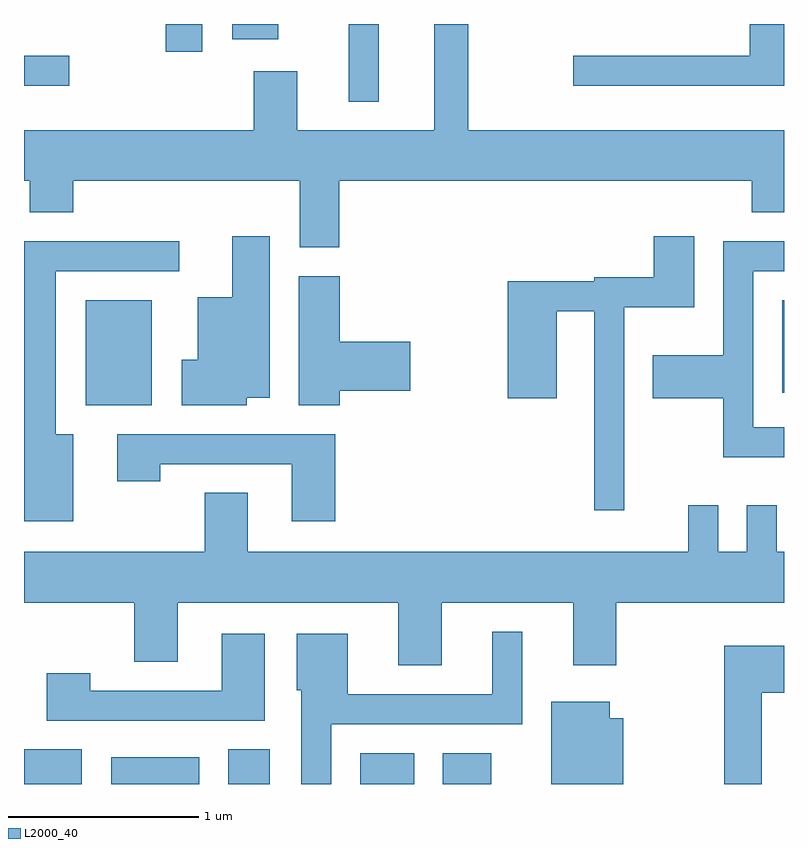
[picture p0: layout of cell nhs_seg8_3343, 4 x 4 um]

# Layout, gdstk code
import gdstk
lib = gdstk.Library(unit=1e-6, precision=1e-09)
def R(c, l, rs):  # rectangles x0, y0, x1, y1
    for r in rs: c.add(gdstk.rectangle(r[:2], r[2:], *l))
def P(c, l, *ps):  # polygons
    for p in ps: c.add(gdstk.Polygon(p, *l))
L2000_40 = (2000, 40)

nhs_seg8_3343 = lib.new_cell('nhs_seg8_3343')
R(nhs_seg8_3343, L2000_40, [(285.611,1844.342,285.914,1844.524), (286.071,1844.342,286.534,1844.484), (286.686,1844.342,286.904,1844.524), (287.381,1844.342,287.664,1844.504), (287.816,1844.342,288.069,1844.504), (285.936,1846.336,286.284,1846.889), (289.601,1846.401,289.611,1846.889), (287.321,1847.933,287.479,1848.342), (285.611,1848.016,285.848,1848.174), (286.356,1848.196,286.549,1848.342), (286.706,1848.261,286.949,1848.342)])
P(nhs_seg8_3343, L2000_40, [(287.049,1848.094),(286.821,1848.094),(286.821,1847.784),(285.611,1847.784),(285.611,1847.516),(285.641,1847.516),(285.641,1847.351),(285.869,1847.351),(285.869,1847.516),(287.061,1847.516),(287.061,1847.166),(287.269,1847.166),(287.269,1847.516),(289.441,1847.516),(289.441,1847.351),(289.611,1847.351),(289.611,1847.784),(287.949,1847.784),(287.949,1848.342),(287.771,1848.342),(287.771,1847.784),(287.049,1847.784)],
  [(289.611,1848.342),(289.431,1848.342),(289.431,1848.174),(288.503,1848.174),(288.503,1848.016),(289.611,1848.016)],
  [(288.769,1846.851),(289.139,1846.851),(289.139,1847.224),(288.926,1847.224),(288.926,1847.009),(288.611,1847.009),(288.611,1846.989),(288.156,1846.989),(288.156,1846.371),(288.414,1846.371),(288.414,1846.831),(288.611,1846.831),(288.611,1845.783),(288.769,1845.783)],
  [(286.784,1846.376),(286.904,1846.376),(286.904,1847.224),(286.706,1847.224),(286.706,1846.904),(286.526,1846.904),(286.526,1846.574),(286.441,1846.574),(286.441,1846.336),(286.784,1846.336)],
  [(289.611,1846.219),(289.449,1846.219),(289.449,1847.041),(289.611,1847.041),(289.611,1847.199),(289.291,1847.199),(289.291,1846.599),(288.921,1846.599),(288.921,1846.371),(289.291,1846.371),(289.291,1846.061),(289.611,1846.061)],
  [(285.869,1846.184),(285.779,1846.184),(285.779,1847.041),(286.428,1847.041),(286.428,1847.199),(285.611,1847.199),(285.611,1845.726),(285.869,1845.726)],
  [(287.274,1846.411),(287.644,1846.411),(287.644,1846.669),(287.274,1846.669),(287.274,1847.014),(287.056,1847.014),(287.056,1846.336),(287.274,1846.336)],
  [(287.249,1846.184),(286.101,1846.184),(286.101,1845.936),(286.329,1845.936),(286.329,1846.026),(287.021,1846.026),(287.021,1845.726),(287.249,1845.726)],
  [(289.611,1845.564),(289.574,1845.564),(289.574,1845.808),(289.416,1845.808),(289.416,1845.564),(289.264,1845.564),(289.264,1845.808),(289.106,1845.808),(289.106,1845.564),(286.789,1845.564),(286.789,1845.874),(286.561,1845.874),(286.561,1845.564),(285.611,1845.564),(285.611,1845.296),(286.191,1845.296),(286.191,1844.986),(286.419,1844.986),(286.419,1845.296),(287.581,1845.296),(287.581,1844.966),(287.809,1844.966),(287.809,1845.296),(288.501,1845.296),(288.501,1844.966),(288.729,1844.966),(288.729,1845.296),(289.611,1845.296)],
  [(287.229,1844.656),(288.234,1844.656),(288.234,1845.143),(288.076,1845.143),(288.076,1844.814),(287.314,1844.814),(287.314,1845.134),(287.046,1845.134),(287.046,1844.836),(287.071,1844.836),(287.071,1844.342),(287.229,1844.342)],
  [(286.879,1845.134),(286.651,1845.134),(286.651,1844.834),(285.959,1844.834),(285.959,1844.924),(285.731,1844.924),(285.731,1844.676),(286.879,1844.676)],
  [(289.494,1844.821),(289.611,1844.821),(289.611,1845.069),(289.296,1845.069),(289.296,1844.342),(289.494,1844.342)],
  [(288.764,1844.689),(288.694,1844.689),(288.694,1844.774),(288.386,1844.774),(288.386,1844.342),(288.764,1844.342)])

lib.write_gds('nhs_seg8_3343.gds')
